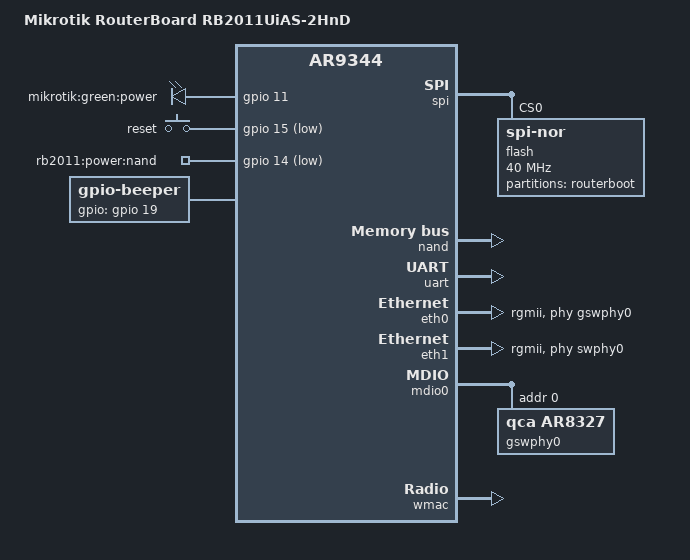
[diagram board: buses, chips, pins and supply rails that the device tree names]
// SPDX-License-Identifier: GPL-2.0-or-later OR MIT
/dts-v1/;

#include <dt-bindings/gpio/gpio.h>
#include <dt-bindings/input/input.h>

#include "ar9344.dtsi"

/ {
	compatible = "mikrotik,routerboard-rb2011-uias-2hnd", "qca,ar9344";
	model = "Mikrotik RouterBoard RB2011UiAS-2HnD";

	chosen {
		bootargs = "lcd_ctrl=84 parts=1 boot_part_size=4194304 gpio=249403 HZ=375000000 mem=128M kmac=CC:2D:E0:62:70:D6 board=2011r5 board=2011r5 ver=3.41 hw_opt=00718004 boot=1 mlc=11 console=ttyS0,115200 ubi.mtd=2,2048 rootfstype=squashfs noinitrd";
	};

	aliases {
		serial0 = &uart;
	};

	leds {
		compatible = "gpio-leds";

		power {
			label = "mikrotik:green:power";
			gpios = <&gpio 11 GPIO_ACTIVE_HIGH>;
			default-state = "on";
		};

	};

	keys {
		compatible = "gpio-keys";

		reset {
			label = "reset";
			linux,code = <KEY_RESTART>;
			gpios = <&gpio 15 GPIO_ACTIVE_LOW>;
			debounce-interval = <60>;
		};
	};

	gpio-export {
		compatible = "gpio-export";

		gpio_nand_power {
			gpio-export,name = "rb2011:power:nand";
			gpio-export,output = <0>;
			gpios = <&gpio 14 GPIO_ACTIVE_LOW>;
		};
	};

	beeper {
		compatible = "gpio-beeper";
		gpios = <&gpio 19 GPIO_ACTIVE_HIGH>;
	};
};

&spi {
	status = "okay";

	num-cs = <1>;

	flash@0 {
		compatible = "jedec,spi-nor";
		reg = <0>;
		spi-max-frequency = <40000000>;

		partitions {
			compatible = "fixed-partitions";
			#address-cells = <1>;
			#size-cells = <1>;

			partition@0 {
				label = "routerboot";
				reg = <0x0 0x0>;
				read-only;
				compatible = "mikrotik,routerboot-partitions";
				#address-cells = <1>;
				#size-cells = <1>;

				hard_config: hard_config {
					read-only;
				};

				bios {
					size = <0x1000>;
					read-only;
				};

				soft_config {
				};
			};
		};
	};
};

&nand {
	status = "okay";

	nand-ecc-mode = "soft";
	qca,nand-swap-dma;
	qca,nand-scan-fixup;

	partitions {
		compatible = "fixed-partitions";
		#address-cells = <1>;
		#size-cells = <1>;

		partition@0 {
			label = "booter";
			reg = <0x0000000 0x0040000>;
			read-only;
		};

		partition@40000 {
			label = "kernel";
			reg = <0x0040000 0x03c0000>;
		};

		partition@400000 {
			label = "ubi";
			reg = <0x0400000 0x7c00000>;
		};
	};
};

&uart {
	status = "okay";
};

&eth0 {
	status = "okay";

	phy-mode = "rgmii";
	phy-handle = <&gswphy0>;

};


&eth1 {
	status = "okay";

	phy-mode = "rgmii";
	phy-handle = <&swphy0>;

	gmac-config {
		device = <&gmac>;
		switch-phy-swap = <0>;
	};

};

&mdio0 {
        status = "okay";

        phy-mask = <0>;

        gswphy0: ethernet-phy@0 {
		compatible = "qca,ar8327";
                reg = <0>;
		phy-mode = "rgmii";
                qca,mib-poll-interval = <500>;
                //reset-gpios = <&gpio 11 GPIO_ACTIVE_LOW>;

                qca,ar8327-initvals = <
			0x04 0x07600000 /* PORT0 PAD MODE CTRL */
			0x08 0x01000000 /* PORT5 PAD MODE CTRL*/
			0x0c 0x00000080 /* PORT6 PAD MODE CTRL */
			/* 0x10 0x40000000 /* Power-on Strapping: 176-pin interface configuration */
			0x10 0x81000080 /* POWER_ON_STRIP */
			0x50 0xc437c437 /* LED Control Register 0 */
			0x54 0xc337c337 /* LED Control Register 1 */
			0x58 0x00000000 /* LED Control Register 2 */
			0x5c 0x03ffff00 /* LED Control Register 3 */
			0x7c 0x0000004e /* PORT0_STATUS */
			0x94 0x0000004e /* PORT6 STATUS */
			0xe0 0xc74164de /* SGMII_CTRL */
			0xe4 0x000aa545 /* MAC_POWER_SEL */
			>;
		};

};

//&mdio0 {
//	status = "okay";
//
//	phy_port1: phy@1 {
//		reg = <0>;
//	};
//
//	phy_port2: phy@2 {
//		reg = <1>;
//	};
//
//	phy_port3: phy@3 {
//		reg = <2>;
//	};
//
//	phy_port4: phy@4 {
//		reg = <3>;
//	};
//
//	phy_port5: phy@5 {
//		reg = <4>;
//	};
//
//	switch0@0 {
//		compatible = "qca,qca8337";
//		#address-cells = <1>;
//		#size-cells = <0>;
//
//		reg = <0>;
//
//		ports {
//			#address-cells = <1>;
//			#size-cells = <0>;
//			port@0 {
//				reg = <0>;
//				label = "cpu";
//				ethernet = <&eth1>;
//				phy-mode = "rgmii";
//				qca,mib-poll-interval = <500>;
//				fixed-link {
//					speed = <1000>;
//					full-duplex;
//				};
//			};
//
//			port@1 {
//				reg = <1>;
//				label = "wan";
//				phy-handle = <&phy_port1>;
//			};
//
//			port@2 {
//				reg = <2>;
//				label = "lan1";
//				phy-handle = <&phy_port2>;
//			};
//
//			port@3 {
//				reg = <3>;
//				label = "lan2";
//				phy-handle = <&phy_port3>;
//			};
//
//			port@4 {
//				reg = <4>;
//				label = "lan3";
//				phy-handle = <&phy_port4>;
//			};
//
//			port@5 {
//				reg = <5>;
//				label = "lan4";
//				phy-handle = <&phy_port5>;
//			};
//		};
//	};
//};

&wmac {
	status = "okay";

	qca,no-eeprom;
};
